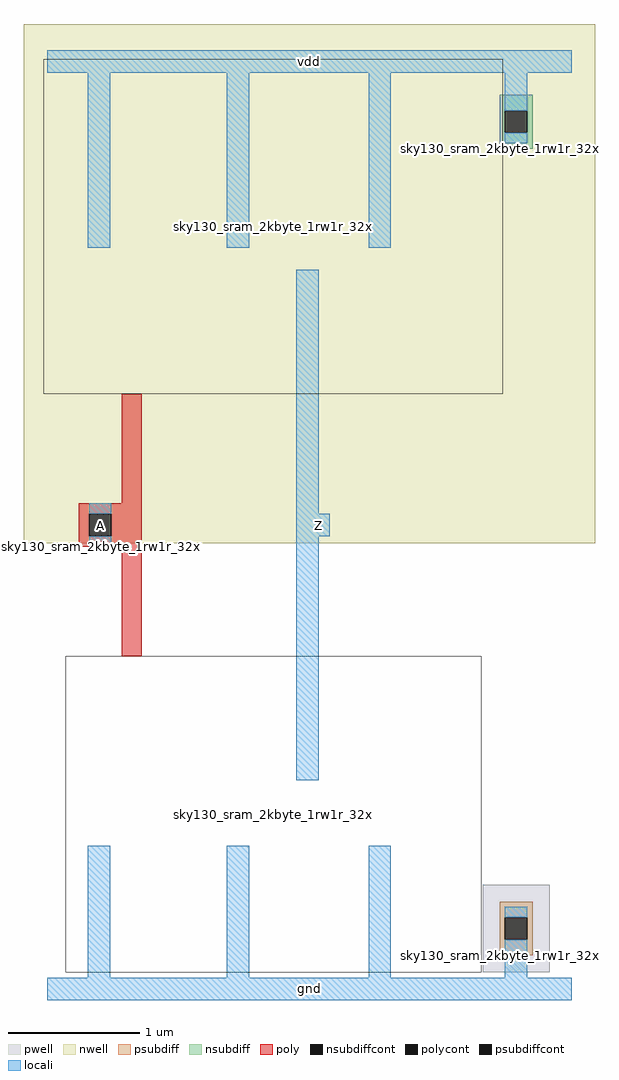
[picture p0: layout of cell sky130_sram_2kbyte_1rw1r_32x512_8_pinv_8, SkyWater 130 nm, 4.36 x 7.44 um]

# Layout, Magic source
magic
tech sky130A
magscale 1 2
<< nwell >>
rect -36 679 836 1471
<< pwell >>
rect 664 25 766 159
<< psubdiff >>
rect 690 109 740 133
rect 690 75 698 109
rect 732 75 740 109
rect 690 51 740 75
<< nsubdiff >>
rect 690 1339 740 1363
rect 690 1305 698 1339
rect 732 1305 740 1339
rect 690 1281 740 1305
<< psubdiffcont >>
rect 698 75 732 109
<< nsubdiffcont >>
rect 698 1305 732 1339
<< poly >>
rect 114 740 144 907
rect 48 724 144 740
rect 48 690 64 724
rect 98 690 144 724
rect 48 674 144 690
rect 114 507 144 674
<< polycont >>
rect 64 690 98 724
<< locali >>
rect 0 1397 800 1431
rect 62 1130 96 1397
rect 274 1130 308 1397
rect 490 1130 524 1397
rect 698 1339 732 1397
rect 698 1289 732 1305
rect 64 724 98 740
rect 64 674 98 690
rect 380 724 414 1096
rect 380 690 431 724
rect 380 318 414 690
rect 62 17 96 218
rect 274 17 308 218
rect 490 17 524 218
rect 698 109 732 125
rect 698 17 732 75
rect 0 -17 800 17
use sky130_sram_2kbyte_1rw1r_32x512_8_contact_16  sky130_sram_2kbyte_1rw1r_32x512_8_contact_16_0
transform 1 0 48 0 1 674
box 0 0 1 1
use sky130_sram_2kbyte_1rw1r_32x512_8_contact_29  sky130_sram_2kbyte_1rw1r_32x512_8_contact_29_0
transform 1 0 690 0 1 51
box 0 0 1 1
use sky130_sram_2kbyte_1rw1r_32x512_8_contact_28  sky130_sram_2kbyte_1rw1r_32x512_8_contact_28_0
transform 1 0 690 0 1 1281
box 0 0 1 1
use sky130_sram_2kbyte_1rw1r_32x512_8_nmos_m5_w2_000_sli_dli_da_p  sky130_sram_2kbyte_1rw1r_32x512_8_nmos_m5_w2_000_sli_dli_da_p_0
transform 1 0 54 0 1 51
box -26 -26 608 456
use sky130_sram_2kbyte_1rw1r_32x512_8_pmos_m5_w2_000_sli_dli_da_p  sky130_sram_2kbyte_1rw1r_32x512_8_pmos_m5_w2_000_sli_dli_da_p_0
transform 1 0 54 0 1 963
box -59 -56 641 454
<< labels >>
rlabel locali s 81 707 81 707 4 A
port 1 nsew
rlabel locali s 414 707 414 707 4 Z
port 2 nsew
rlabel locali s 400 0 400 0 4 gnd
port 3 nsew
rlabel locali s 400 1414 400 1414 4 vdd
port 4 nsew
<< properties >>
string FIXED_BBOX 0 0 800 1414
string GDS_FILE $PDKPATH/libs.ref/sky130_sram_macros/gds/sky130_sram_2kbyte_1rw1r_32x512_8.gds
string GDS_END 390336
string GDS_START 388210
<< end >>
